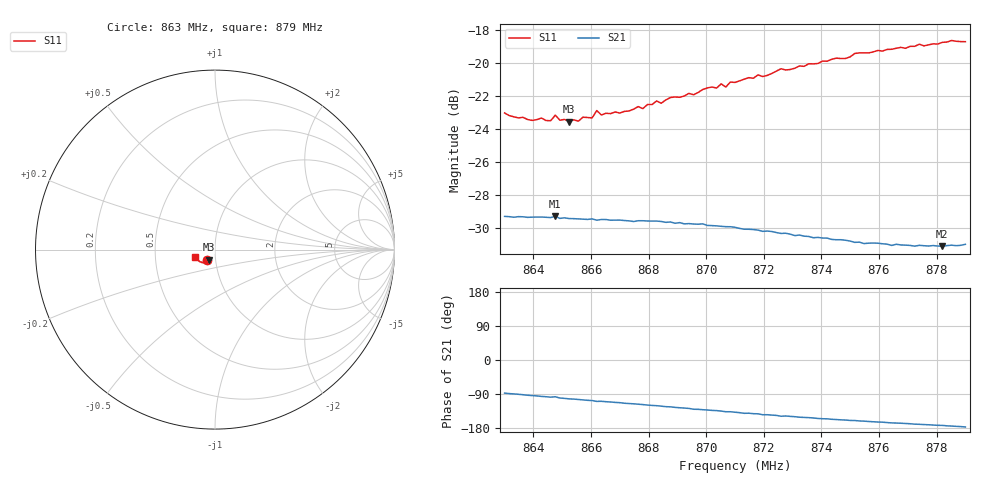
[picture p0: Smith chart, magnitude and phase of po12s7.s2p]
# HZ S RI R 50
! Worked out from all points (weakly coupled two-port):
!   101 points, 863 MHz to 879 MHz, reference 50 ohm
!   highest |S21| = -29.30 dB at 864.76 MHz (marker M1); lowest = -31.1 dB at 878.2 MHz (marker M2)
!   lowest |S11| = -23.5 dB at 865.24 MHz (marker M3), VSWR 1.14, Z = 46.2 - j5.18 ohm
!   |S11| at or under -10 dB: start of sweep to end of sweep
!   S12 and S22 are empty: the file has one direction only
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8.63e8  -0.044 -0.0552  0.00157 -0.0342  0 0  0 0
8.6396e8  -0.0393 -0.0543  -0.00235 -0.034  0 0  0 0
8.646e8  -0.0375 -0.0554  -0.00474 -0.0336  0 0  0 0
8.6476e8  -0.0394 -0.0574  -0.0042 -0.034  0 0  0 0
8.6492e8  -0.0364 -0.0564  -0.00604 -0.0332  0 0  0 0
8.6524e8  -0.0362 -0.0557  -0.00735 -0.0329  0 0  0 0
8.6572e8  -0.0353 -0.0588  -0.00888 -0.0324  0 0  0 0
8.6604e8  -0.0349 -0.0587  -0.00984 -0.0322  0 0  0 0
8.662e8  -0.0378 -0.0611  -0.011 -0.0315  0 0  0 0
8.6636e8  -0.0361 -0.0596  -0.0109 -0.0317  0 0  0 0
8.67e8  -0.0347 -0.0615  -0.0128 -0.0308  0 0  0 0
8.6764e8  -0.0364 -0.0643  -0.0149 -0.0297  0 0  0 0
8.678e8  -0.0358 -0.0634  -0.0154 -0.0294  0 0  0 0
8.6828e8  -0.0373 -0.0672  -0.0169 -0.0285  0 0  0 0
8.6844e8  -0.0374 -0.0657  -0.0174 -0.0281  0 0  0 0
8.6876e8  -0.0389 -0.0685  -0.0182 -0.0274  0 0  0 0
8.71e8  -0.0487 -0.0727  -0.0235 -0.0213  0 0  0 0
8.726e8  -0.0607 -0.0748  -0.0259 -0.0159  0 0  0 0
8.7372e8  -0.0678 -0.073  -0.0262 -0.0134  0 0  0 0
8.7644e8  -0.0919 -0.061  -0.0271 -0.00677  0 0  0 0
8.782e8  -0.1057 -0.0473  -0.0276 -0.00359  0 0  0 0
8.79e8  -0.1095 -0.0393  -0.0281 -0.00161  0 0  0 0
